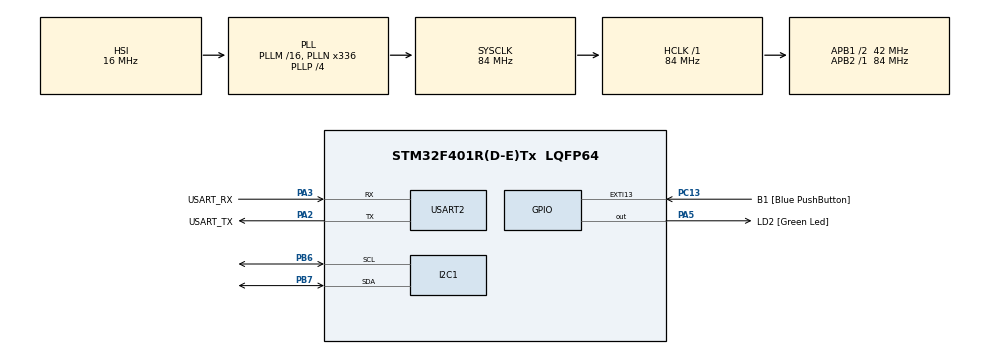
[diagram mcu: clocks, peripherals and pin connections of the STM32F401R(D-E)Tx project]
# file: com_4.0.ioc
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Mcu.Family=STM32F4
Mcu.Name=STM32F401R(D-E)Tx
Mcu.Package=LQFP64
NVIC.PriorityGroup=NVIC_PRIORITYGROUP_0
PA13.GPIO_Label=TMS
PA13.Mode=Serial_Wire
PA13.Signal=SYS_JTMS-SWDIO
PA14.GPIO_Label=TCK
PA14.Mode=Serial_Wire
PA14.Signal=SYS_JTCK-SWCLK
PA2.GPIO_Label=USART_TX
PA2.GPIO_Mode=GPIO_MODE_AF_PP
PA2.GPIO_PuPd=GPIO_NOPULL
PA2.GPIO_Speed=GPIO_SPEED_FREQ_LOW
PA2.Mode=Asynchronous
PA2.Signal=USART2_TX
PA3.GPIO_Label=USART_RX
PA3.GPIO_Mode=GPIO_MODE_AF_PP
PA3.GPIO_PuPd=GPIO_NOPULL
PA3.GPIO_Speed=GPIO_SPEED_FREQ_LOW
PA3.Mode=Asynchronous
PA3.Signal=USART2_RX
PA5.GPIO_Label=LD2 [Green Led]
PA5.GPIO_Mode=GPIO_MODE_OUTPUT_PP
PA5.GPIO_PuPd=GPIO_NOPULL
PA5.GPIO_Speed=GPIO_SPEED_FREQ_LOW
PA5.Signal=GPIO_Output
PB6.Mode=I2C
PB6.Signal=I2C1_SCL
PB7.Mode=I2C
PB7.Signal=I2C1_SDA
PC13-ANTI_TAMP.GPIO_Label=B1 [Blue PushButton]
PC13-ANTI_TAMP.GPIO_ModeDefaultEXTI=GPIO_MODE_IT_FALLING
PC13-ANTI_TAMP.GPIO_PuPd=GPIO_NOPULL
PC13-ANTI_TAMP.Signal=GPXTI13
PC14-OSC32_IN.Mode=LSE-External-Oscillator
PC14-OSC32_IN.Signal=RCC_OSC32_IN
PC15-OSC32_OUT.Mode=LSE-External-Oscillator
PC15-OSC32_OUT.Signal=RCC_OSC32_OUT
PH0\ -\ OSC_IN.Mode=HSE-External-Clock-Source
PH0\ -\ OSC_IN.Signal=RCC_OSC_IN
PH1\ -\ OSC_OUT.Mode=HSE-External-Clock-Source
PH1\ -\ OSC_OUT.Signal=RCC_OSC_OUT
ProjectManager.HeapSize=0x200
ProjectManager.StackSize=0x400
ProjectManager.TargetToolchain=STM32CubeIDE
RCC.48MHZClocksFreq_Value=48000000
RCC.AHBFreq_Value=84000000
RCC.APB1CLKDivider=RCC_HCLK_DIV2
RCC.APB1Freq_Value=42000000
RCC.APB1TimFreq_Value=84000000
RCC.APB2Freq_Value=84000000
RCC.APB2TimFreq_Value=84000000
RCC.CortexFreq_Value=84000000
RCC.HCLKFreq_Value=84000000
RCC.HSE_VALUE=8000000
RCC.HSI_VALUE=16000000
RCC.PLLN=336
RCC.PLLP=RCC_PLLP_DIV4
RCC.PLLQ=7
RCC.SYSCLKFreq_VALUE=84000000
RCC.SYSCLKSource=RCC_SYSCLKSOURCE_PLLCLK
RCC.VCOOutputFreq_Value=336000000
USART2.VirtualMode=VM_ASYNC
board=NUCLEO-F401RE

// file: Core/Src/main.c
/* USER CODE BEGIN Header */
/**
  ******************************************************************************
  * @file           : main.c
  * @brief          : Main program body
  ******************************************************************************
  * @attention
  *
  * Copyright (c) 2024 STMicroelectronics.
  * All rights reserved.
  *
  * This software is licensed under terms that can be found in the LICENSE file
  * in the root directory of this software component.
  * If no LICENSE file comes with this software, it is provided AS-IS.
  *
  ******************************************************************************
  */
/* USER CODE END Header */
#include "main.h"
#include <stdio.h>
#include <stdlib.h>  // For strtol
#include <stdint.h>  // For uint32_t
#include <string.h>
#include <math.h>
#include <ctype.h>

/* USER CODE BEGIN PD */
// Define the I2C address of LDC1614 (7-bit address, shift left for 8-bit format)
#define LDC1614_ADDRESS (0x2A << 1)  // Adjust based on your sensor's I2C address configuration

// Define Channels data registers
#define LDC1614_REG_DATA0_MSB 0x00  // Register address for DATA_MSB_CH0 // Read Only
#define LDC1614_REG_DATA0_LSB 0x01  // Register address for DATA_LSB_CH0 // Read Only
#define LDC1614_REG_DATA1_MSB 0x02  // Register address for DATA_MSB_CH1 // Read Only
#define LDC1614_REG_DATA1_LSB 0x03  // Register address for DATA_LSB_CH1 // Read Only
#define LDC1614_REG_DATA2_MSB 0x04  // Register address for DATA_MSB_CH2 // Read Only
#define LDC1614_REG_DATA2_LSB 0x05  // Register address for DATA_LSB_CH2 // Read Only
#define LDC1614_REG_DATA3_MSB 0x06  // Register address for DATA_MSB_CH3 // Read Only
#define LDC1614_REG_DATA3_LSB 0x07  // Register address for DATA_LSB_CH3 // Read Only

// Define Channels offsets registers
#define LDC1614_CH0_OFFSET 0x0C // Offset channel 0 // Read & Write
#define LDC1614_CH1_OFFSET 0x0D // Offset channel 1 // Read & Write
#define LDC1614_CH2_OFFSET 0x0E // Offset channel 2 // Read & Write
#define LDC1614_CH3_OFFSET 0x0F // Offset channel 3 // Read & Write

// Define Channels dividers registers
#define LDC1614_CH0_FIN_DIVIDER 0x14 // Divider channel 0 // Read & Write
#define LDC1614_CH1_FIN_DIVIDER 0x15 // Divider channel 1 // Read & Write
#define LDC1614_CH2_FIN_DIVIDER 0x16 // Divider channel 2 // Read & Write
#define LDC1614_CH3_FIN_DIVIDER 0x17 // Divider channel 3 // Read & Write

// Define RCOUNT registers
#define RCOUNT_CH0 0x08
#define RCOUNT_CH1 0x09
#define RCOUNT_CH2 0x0A
#define RCOUNT_CH3 0x0B

// Define SETTLECOUNT registers
#define SETTLECOUNT_CH0 0x10
#define SETTLECOUNT_CH1 0x11
#define SETTLECOUNT_CH2 0x12
#define SETTLECOUNT_CH3 0x13

// Define MUX configuration register
#define CONFIG_reg 0x1A
#define MUX_reg 0x1B
#define RESET_DEV 0x1C

#define DRIVE_CURRENT_CH0 0x1E
#define DRIVE_CURRENT_CH1 0x1F
#define DRIVE_CURRENT_CH2 0x20
#define DRIVE_CURRENT_CH3 0x21

// THIS IS YOUR FIRST BRANCH

/* USER CODE END PD */

I2C_HandleTypeDef hi2c1;
UART_HandleTypeDef huart2;

// Buffers for channels data
uint8_t reg_data_MSB_CH0[2];  // Buffer to hold the read data (2 bytes for LDC1614)
uint8_t reg_data_LSB_CH0[2];  // Buffer to hold the read data (2 bytes for LDC1614)
uint8_t reg_data_MSB_CH1[2];  // Buffer to hold the read data (2 bytes for LDC1614)
uint8_t reg_data_LSB_CH1[2];  // Buffer to hold the read data (2 bytes for LDC1614)
uint8_t reg_data_MSB_CH2[2];  // Buffer to hold the read data (2 bytes for LDC1614)
uint8_t reg_data_LSB_CH2[2];  // Buffer to hold the read data (2 bytes for LDC1614)
uint8_t reg_data_MSB_CH3[2];  // Buffer to hold the read data (2 bytes for LDC1614)
uint8_t reg_data_LSB_CH3[2];  // Buffer to hold the read data (2 bytes for LDC1614)

// Buffers for channels offsets
uint8_t reg_CH0_OFFSET[2];
uint8_t reg_CH1_OFFSET[2];
uint8_t reg_CH2_OFFSET[2];
uint8_t reg_CH3_OFFSET[2];

// Buffers for channels frequency dividers
uint8_t reg_CH0_FIN_DIVIDER[2];
uint8_t reg_CH1_FIN_DIVIDER[2];
uint8_t reg_CH2_FIN_DIVIDER[2];
uint8_t reg_CH3_FIN_DIVIDER[2];

//MUX Configurations (2, 3 or 4 channels)
uint8_t config_channels_DeGlitch[2] = {0x82, 0x0C};  // Configuration to be written, change here.

// Configurations (2, 3 or 4 channels)
uint8_t config_2Channels_1MHz[2] = {0x82, 0x09};  // Configuration to be written for 2 channels mode // Deglitsh 1MHz
uint8_t config_3Channels_1MHz[2] = {0xA2, 0x09};  // Configuration to be written for 3 channels mode // Deglitsh 1MHz
uint8_t config_4Channels_1MHz[2] = {0xC2, 0x09};  // Configuration to be written for 4 channels mode // Deglitsh 1MHz

uint8_t config_2Channels_3MHz[2] = {0x82, 0x0C};  // Configuration to be written for 2 channels mode // Deglitsh 3.3MHz
uint8_t config_3Channels_3MHz[2] = {0xA2, 0x0C};  // Configuration to be written for 3 channels mode // Deglitsh 3.3MHz
uint8_t config_4Channels_3MHz[2] = {0xC2, 0x0C};  // Configuration to be written for 4 channels mode // Deglitsh 3.3MHz

uint8_t config_2Channels_10MHz[2] = {0x82, 0x0D};  // Configuration to be written for 2 channels mode // Deglitsh 10MHz
uint8_t config_3Channels_10MHz[2] = {0xA2, 0x0D};  // Configuration to be written for 3 channels mode // Deglitsh 10MHz
uint8_t config_4Channels_10MHz[2] = {0xC2, 0x0D};  // Configuration to be written for 4 channels mode // Deglitsh 10MHz

uint8_t config_2Channels_33MHz[2] = {0x82, 0x0F};  // Configuration to be written for 2 channels mode // Deglitsh 33MHz
uint8_t config_3Channels_33MHz[2] = {0xA2, 0x0F};  // Configuration to be written for 3 channels mode // Deglitsh 33MHz
uint8_t config_4Channels_33MHz[2] = {0xC2, 0x0F};  // Configuration to be written for 4 channels mode // Deglitsh 33MHz

// COUNTS SETTINGS
uint8_t R_COUNT_DEFAULT[2] = {0xFF, 0xFF};
uint8_t SETTLECOUNT_DEFAULT[2] = {0x04, 0x00};

// CLOCK SETTINGS
uint8_t clk_src[2] = {0x1c, 0x01};
uint8_t reset_value[2] = {0x80, 0x00};
uint8_t active_value[2] = {0x00, 0x00};

// DIVIDER AND CLOCK SOURCE
uint8_t DIVIDER_DEFAULT_CH0[2] = {0x10, 0x0E}; //14
uint8_t DIVIDER_DEFAULT_CH1[2] = {0x10, 0x0E}; //14
uint8_t DIVIDER_DEFAULT_CH2[2] = {0x10, 0x0E}; //14
uint8_t DIVIDER_DEFAULT_CH3[2] = {0x10, 0x0E};

uint8_t DRIVE_CURRENT_DEFAULT[2] = {0x8C, 0x40};

void SystemClock_Config(void);
static void MX_GPIO_Init(void);
static void MX_USART2_UART_Init(void);
static void MX_I2C1_Init(void);

// Function to read a register from LDC1614
void LDC1614_ReadRegister(uint8_t reg, uint8_t* buffer, uint16_t size) {
    HAL_I2C_Mem_Read(&hi2c1, LDC1614_ADDRESS, reg, I2C_MEMADD_SIZE_8BIT, buffer, size, HAL_MAX_DELAY);
}

void LDC1614_WriteRegister(uint8_t reg, uint8_t* data, uint16_t size) {
    HAL_I2C_Mem_Write(&hi2c1, LDC1614_ADDRESS, reg, I2C_MEMADD_SIZE_8BIT, data, size, HAL_MAX_DELAY);
}

// Function to transform hex to dec
int hex_to_dec(uint16_t hex) {
	char hexString_CH0[5];
	snprintf(hexString_CH0, sizeof(hexString_CH0), "%04X", hex);
	int integerValue = (int)strtol(hexString_CH0, NULL, 16);
	return integerValue;
}

void LDC1614_WriteRegister_LSB(uint16_t reg, uint16_t* data, uint16_t size) {
    uint8_t current_data[2];  // Array to hold the current register value (MSB + LSB)

    // Read the current value of the register (assuming the register is 16 bits)
    HAL_I2C_Mem_Read(&hi2c1, LDC1614_ADDRESS, reg, I2C_MEMADD_SIZE_8BIT, current_data, 2, HAL_MAX_DELAY);

    // Update the LSB (first 8 bits) while keeping the MSB (second 8 bits) unchanged
    current_data[1] = data;  // Write new LSB from the input data

    // Write the updated register value (MSB unchanged, LSB updated)
    HAL_I2C_Mem_Write(&hi2c1, LDC1614_ADDRESS, reg, I2C_MEMADD_SIZE_8BIT, current_data, 2, HAL_MAX_DELAY);
}

uint32_t calculate_raw_code(uint16_t msb, uint16_t lsb) {
    // Ensure MSB is 12-bit and LSB is 16-bit
    if (msb >= (1 << 12)) {
        return 0;
    }
    if (lsb >= (1 << 16)) {
        return 0;
    }
    uint32_t raw_code = msb * 65536 + lsb;
    return raw_code;
}

int calculate_frequency_supply(float f_ref, float div) {
    float f_supply = f_ref / div * 1000;  // Ensure the division is treated as floating-point
    return f_supply;
}

float calculate_frequency_sensor(float f_ref, float div, float raw_code) {
    float f_supply = f_ref / div;  // Ensure the division is treated as floating-point
    float delta_CH0 =  raw_code / 268435.456;

    float f_sensor = f_supply * delta_CH0;
    return f_sensor;
}

// Function to calculate inductance in microhenries
float calculate_inductance(float raw_code, int f_supply, float fin_divider) {
    float delta = raw_code / 268435.456f;
    float f_sensor = f_supply * delta / 1000.0f;

    float a = 2 * 3.14f * f_sensor * 1000.0f;
    float b = a * a;  // Square 'a'
    float c = b * 330.0f * 1e-12f;  // Representation of 10^-12

    return (c != 0) ? (1 / c) * 1e9f : 0;  // Convert to microhenries
}

void Transmit_Data(uint16_t MSB_CH0, uint16_t LSB_CH0, uint16_t CH0_FIN_DIVIDER, uint16_t CH0_OFFSET,
                    uint16_t MSB_CH1, uint16_t LSB_CH1, uint16_t CH1_FIN_DIVIDER, uint16_t CH1_OFFSET,
                    uint16_t MSB_CH2, uint16_t LSB_CH2, uint16_t CH2_FIN_DIVIDER, uint16_t CH2_OFFSET,
                    uint16_t MSB_CH3, uint16_t LSB_CH3, uint16_t CH3_FIN_DIVIDER, uint16_t CH3_OFFSET) {
    static uint32_t transmit_count = 0;  // Counter to keep track of transmitted data instances
    char msg[1000];  // Buffer to hold the transmitted message

    transmit_count++;  // Increment the counter each time data is transmitted

    // Sensor calculation using 43.4 MHz // PS: the f_supply is in KHz
    float reference_frequency = 43.4;

    // Mask MSB values to 12 bits
    uint16_t MSB_CH0_masked = MSB_CH0 & 0x0FFF;
    uint16_t MSB_CH1_masked = MSB_CH1 & 0x0FFF;
    uint16_t MSB_CH2_masked = MSB_CH2 & 0x0FFF;
    uint16_t MSB_CH3_masked = MSB_CH3 & 0x0FFF;

    // Mask FIN divider to 8 bits
    uint16_t CH0_FIN_DIVIDER_masked = CH0_FIN_DIVIDER & 0x00FF;
    uint16_t CH1_FIN_DIVIDER_masked = CH1_FIN_DIVIDER & 0x00FF;
    uint16_t CH2_FIN_DIVIDER_masked = CH2_FIN_DIVIDER & 0x00FF;
    uint16_t CH3_FIN_DIVIDER_masked = CH3_FIN_DIVIDER & 0x00FF;

    uint32_t raw_code_CH0 = calculate_raw_code(MSB_CH0_masked, LSB_CH0);
    uint32_t raw_code_CH1 = calculate_raw_code(MSB_CH1_masked, LSB_CH1);
    uint32_t raw_code_CH2 = calculate_raw_code(MSB_CH2_masked, LSB_CH2);
    uint32_t raw_code_CH3 = calculate_raw_code(MSB_CH3_masked, LSB_CH3);

    int f_supply_CH0 = calculate_frequency_supply(reference_frequency, CH0_FIN_DIVIDER_masked);
    int f_supply_CH1 = calculate_frequency_supply(reference_frequency, CH1_FIN_DIVIDER_masked);
    int f_supply_CH2 = calculate_frequency_supply(reference_frequency, CH2_FIN_DIVIDER_masked);
    int f_supply_CH3 = calculate_frequency_supply(reference_frequency, CH3_FIN_DIVIDER_masked);

    int f_sensor_CH0 = calculate_frequency_sensor(reference_frequency, CH0_FIN_DIVIDER_masked, raw_code_CH0);
    int f_sensor_CH1 = calculate_frequency_sensor(reference_frequency, CH1_FIN_DIVIDER_masked, raw_code_CH1);
    int f_sensor_CH2 = calculate_frequency_sensor(reference_frequency, CH2_FIN_DIVIDER_masked, raw_code_CH2);
    int f_sensor_CH3 = calculate_frequency_sensor(reference_frequency, CH3_FIN_DIVIDER_masked, raw_code_CH3);

//
//    float a = 2 * 3.14f * f_sensor_CH0 * 1000;
//    float b = pow(a, 2);  // Correct way to square 'a'
//    float c = b * 330 * 1e-12;  // Correct representation of 10^-12
//    int L_CH0 = 1000000000 / c;  // Assuming 'c' is not zero

    int L_CH0 = calculate_inductance(raw_code_CH0, f_supply_CH0, CH0_FIN_DIVIDER_masked);
    int L_CH1 = calculate_inductance(raw_code_CH1, f_supply_CH1, CH1_FIN_DIVIDER_masked);
    int L_CH2 = calculate_inductance(raw_code_CH2, f_supply_CH2, CH2_FIN_DIVIDER_masked);
    int L_CH3 = calculate_inductance(raw_code_CH3, f_supply_CH3, CH3_FIN_DIVIDER_masked);

   // Format the data as a hexadecimal string along with the counter
    int len = snprintf(msg, sizeof(msg),
                       "CH0 - MSB:%d LSB:%d F_DIV:%d f_supply:%i| "
                       "CH1 - MSB:%d LSB:%d F_DIV:%d f_supply:%i| "
                       "CH2 - MSB:%d LSB:%d F_DIV:%d f_supply:%i| "
                       "CH3 - MSB:%d LSB:%d F_DIV:%d f_supply:%i| "
                       "f_sensor_CH2:%li L_CH2:%li - %i\n\r",
                       MSB_CH0_masked, LSB_CH0, CH0_FIN_DIVIDER_masked, f_supply_CH0,
                       MSB_CH1_masked, LSB_CH1, CH1_FIN_DIVIDER_masked, f_supply_CH1,
                       MSB_CH2_masked, LSB_CH2, CH2_FIN_DIVIDER_masked, f_supply_CH2,
                       MSB_CH3_masked, LSB_CH3, CH3_FIN_DIVIDER_masked, f_supply_CH3,
                       f_sensor_CH2, L_CH2, transmit_count);

   if (len < 0 || len >= sizeof(msg)) {
        // Handle snprintf error or buffer overflow
        // Consider logging an error message or taking corrective action
        return;
    }

    // Transmit the message over UART
    if (HAL_UART_Transmit(&huart2, (uint8_t*)msg, len, HAL_MAX_DELAY) != HAL_OK) {
        // Handle UART transmission error
        // Consider logging an error message or taking corrective action
    }
}

int main(void)
{

  /* MCU Configuration--------------------------------------------------------*/

  /* Reset of all peripherals, Initializes the Flash interface and the Systick. */
  HAL_Init();

  /* Configure the system clock */
  SystemClock_Config();

  /* Initialize all configured peripherals */
  MX_GPIO_Init();
  MX_USART2_UART_Init();
  MX_I2C1_Init();

  /* USER CODE BEGIN 2 */
  LDC1614_WriteRegister(RESET_DEV, reset_value, 2);
  LDC1614_WriteRegister(RESET_DEV, active_value, 2);

  // Initialising RCOUNT
  LDC1614_WriteRegister(RCOUNT_CH0, R_COUNT_DEFAULT, 2);
  LDC1614_WriteRegister(RCOUNT_CH1, R_COUNT_DEFAULT, 2);
  LDC1614_WriteRegister(RCOUNT_CH2, R_COUNT_DEFAULT, 2);
  LDC1614_WriteRegister(RCOUNT_CH3, R_COUNT_DEFAULT, 2);

  // Initialising SETTLECOUNT
  LDC1614_WriteRegister(SETTLECOUNT_CH0, SETTLECOUNT_DEFAULT, 2);
  LDC1614_WriteRegister(SETTLECOUNT_CH1, SETTLECOUNT_DEFAULT, 2);
  LDC1614_WriteRegister(SETTLECOUNT_CH2, SETTLECOUNT_DEFAULT, 2);
  LDC1614_WriteRegister(SETTLECOUNT_CH3, SETTLECOUNT_DEFAULT, 2);

  //Frequency divider configuration for the LDC1614
  LDC1614_WriteRegister(LDC1614_CH0_FIN_DIVIDER, DIVIDER_DEFAULT_CH0, 2); // Setting the frequency divider as 12 // F_IN = 1 // Equal to resonance frequency + 10%
  LDC1614_WriteRegister(LDC1614_CH1_FIN_DIVIDER, DIVIDER_DEFAULT_CH1, 2); // Setting the frequency divider as 12 // F_IN = 1 // Equal to resonance frequency + 10%
  LDC1614_WriteRegister(LDC1614_CH2_FIN_DIVIDER, DIVIDER_DEFAULT_CH2, 2); // Setting the frequency divider as 12 // F_IN = 1 // Equal to resonance frequency + 10%
  LDC1614_WriteRegister(LDC1614_CH3_FIN_DIVIDER, DIVIDER_DEFAULT_CH3, 2); // Setting the frequency divider as 12 // F_IN = 1 // Equal to resonance frequency + 10%

  //Clock configuration: Internal clock
  LDC1614_WriteRegister(CONFIG_reg, clk_src, 2);

  //Number of channels configuration for the LDC1614 & Deglitch
  LDC1614_WriteRegister(MUX_reg, config_3Channels_3MHz, 2);

  LDC1614_WriteRegister(DRIVE_CURRENT_CH0, DRIVE_CURRENT_DEFAULT, 2);
  LDC1614_WriteRegister(DRIVE_CURRENT_CH1, DRIVE_CURRENT_DEFAULT, 2);
  LDC1614_WriteRegister(DRIVE_CURRENT_CH2, DRIVE_CURRENT_DEFAULT, 2);
  LDC1614_WriteRegister(DRIVE_CURRENT_CH3, DRIVE_CURRENT_DEFAULT, 2);

  /* USER CODE END 2 */
  /* Infinite loop */
  while (1)
  {

    // Read data
    LDC1614_ReadRegister(LDC1614_REG_DATA0_MSB, reg_data_MSB_CH0, 2);
    LDC1614_ReadRegister(LDC1614_REG_DATA0_LSB, reg_data_LSB_CH0, 2);
    LDC1614_ReadRegister(LDC1614_REG_DATA1_MSB, reg_data_MSB_CH1, 2);
    LDC1614_ReadRegister(LDC1614_REG_DATA1_LSB, reg_data_LSB_CH1, 2);
    LDC1614_ReadRegister(LDC1614_REG_DATA2_MSB, reg_data_MSB_CH2, 2);
    LDC1614_ReadRegister(LDC1614_REG_DATA2_LSB, reg_data_LSB_CH2, 2);
    LDC1614_ReadRegister(LDC1614_REG_DATA3_MSB, reg_data_MSB_CH3, 2);
    LDC1614_ReadRegister(LDC1614_REG_DATA3_LSB, reg_data_LSB_CH3, 2);

    LDC1614_ReadRegister(LDC1614_CH0_OFFSET, reg_CH0_OFFSET, 2);
    LDC1614_ReadRegister(LDC1614_CH1_OFFSET, reg_CH1_OFFSET, 2);
    LDC1614_ReadRegister(LDC1614_CH2_OFFSET, reg_CH2_OFFSET, 2);
    LDC1614_ReadRegister(LDC1614_CH3_OFFSET, reg_CH3_OFFSET, 2);

    LDC1614_ReadRegister(LDC1614_CH0_FIN_DIVIDER, reg_CH0_FIN_DIVIDER, 2);
    LDC1614_ReadRegister(LDC1614_CH1_FIN_DIVIDER, reg_CH1_FIN_DIVIDER, 2);
    LDC1614_ReadRegister(LDC1614_CH2_FIN_DIVIDER, reg_CH2_FIN_DIVIDER, 2);
    LDC1614_ReadRegister(LDC1614_CH3_FIN_DIVIDER, reg_CH3_FIN_DIVIDER, 2);

    // Combine the two bytes into a single 16-bit value
    uint16_t MSB_CH0 = (reg_data_MSB_CH0[0] << 8) | reg_data_MSB_CH0[1];
    uint16_t LSB_CH0= (reg_data_LSB_CH0[0] << 8) | reg_data_LSB_CH0[1];
    uint16_t MSB_CH1 = (reg_data_MSB_CH1[0] << 8) | reg_data_MSB_CH1[1];
    uint16_t LSB_CH1= (reg_data_LSB_CH1[0] << 8) | reg_data_LSB_CH1[1];
    uint16_t MSB_CH2 = (reg_data_MSB_CH2[0] << 8) | reg_data_MSB_CH2[1];
    uint16_t LSB_CH2= (reg_data_LSB_CH2[0] << 8) | reg_data_LSB_CH2[1];
    uint16_t MSB_CH3 = (reg_data_MSB_CH3[0] << 8) | reg_data_MSB_CH3[1];
    uint16_t LSB_CH3= (reg_data_LSB_CH3[0] << 8) | reg_data_LSB_CH3[1];

    uint16_t CH0_OFFSET= (reg_CH0_OFFSET[0] << 8) | reg_CH0_OFFSET[1];
    uint16_t CH1_OFFSET= (reg_CH1_OFFSET[0] << 8) | reg_CH1_OFFSET[1];
    uint16_t CH2_OFFSET= (reg_CH2_OFFSET[0] << 8) | reg_CH2_OFFSET[1];
    uint16_t CH3_OFFSET= (reg_CH3_OFFSET[0] << 8) | reg_CH3_OFFSET[1];

    uint16_t CH0_FIN_DIVIDER= (reg_CH0_FIN_DIVIDER[0] << 8) | reg_CH0_FIN_DIVIDER[1];
    uint16_t CH1_FIN_DIVIDER= (reg_CH1_FIN_DIVIDER[0] << 8) | reg_CH1_FIN_DIVIDER[1];
    uint16_t CH2_FIN_DIVIDER= (reg_CH2_FIN_DIVIDER[0] << 8) | reg_CH2_FIN_DIVIDER[1];
    uint16_t CH3_FIN_DIVIDER= (reg_CH3_FIN_DIVIDER[0] << 8) | reg_CH3_FIN_DIVIDER[1];

    // Data transform for output LED
    int integerValue_MSB_CH0 = hex_to_dec(MSB_CH0);
    int integerValue_MSB_CH1 = hex_to_dec(MSB_CH1);
    int integerValue_MSB_CH2 = hex_to_dec(MSB_CH2);
    int integerValue_MSB_CH3 = hex_to_dec(MSB_CH3);

    // Transmit the register value via UART
    Transmit_Data(MSB_CH0, LSB_CH0, CH0_FIN_DIVIDER, CH0_OFFSET, MSB_CH1, LSB_CH1, CH1_FIN_DIVIDER, CH1_OFFSET, MSB_CH2, LSB_CH2, CH2_FIN_DIVIDER, CH2_OFFSET, MSB_CH3, LSB_CH3, CH3_FIN_DIVIDER, CH3_OFFSET);

    if (MSB_CH0 > 3750 || MSB_CH2 > 3360 ){
    	HAL_GPIO_WritePin(LD2_GPIO_Port, LD2_Pin, GPIO_PIN_SET);
    }else{
    	HAL_GPIO_WritePin(LD2_GPIO_Port, LD2_Pin, GPIO_PIN_RESET);
    };
    // Add a delay or condition to control the transmission frequency

    HAL_Delay(100);  // Delay for 1 second, adjust as needed
  }
}

void SystemClock_Config(void)
{
  RCC_OscInitTypeDef RCC_OscInitStruct = {0};
  RCC_ClkInitTypeDef RCC_ClkInitStruct = {0};

  /** Configure the main internal regulator output voltage
  */
  __HAL_RCC_PWR_CLK_ENABLE();
  __HAL_PWR_VOLTAGESCALING_CONFIG(PWR_REGULATOR_VOLTAGE_SCALE2);

  /** Initializes the RCC Oscillators according to the specified parameters
  * in the RCC_OscInitTypeDef structure.
  */
  RCC_OscInitStruct.OscillatorType = RCC_OSCILLATORTYPE_HSI;
  RCC_OscInitStruct.HSIState = RCC_HSI_ON;
  RCC_OscInitStruct.HSICalibrationValue = RCC_HSICALIBRATION_DEFAULT;
  RCC_OscInitStruct.PLL.PLLState = RCC_PLL_ON;
  RCC_OscInitStruct.PLL.PLLSource = RCC_PLLSOURCE_HSI;
  RCC_OscInitStruct.PLL.PLLM = 16;
  RCC_OscInitStruct.PLL.PLLN = 336;
  RCC_OscInitStruct.PLL.PLLP = RCC_PLLP_DIV4;
  RCC_OscInitStruct.PLL.PLLQ = 7;
  if (HAL_RCC_OscConfig(&RCC_OscInitStruct) != HAL_OK)
  {
    Error_Handler();
  }

  /** Initializes the CPU, AHB and APB buses clocks
  */
  RCC_ClkInitStruct.ClockType = RCC_CLOCKTYPE_HCLK|RCC_CLOCKTYPE_SYSCLK
                              |RCC_CLOCKTYPE_PCLK1|RCC_CLOCKTYPE_PCLK2;
  RCC_ClkInitStruct.SYSCLKSource = RCC_SYSCLKSOURCE_PLLCLK;
  RCC_ClkInitStruct.AHBCLKDivider = RCC_SYSCLK_DIV1;
  RCC_ClkInitStruct.APB1CLKDivider = RCC_HCLK_DIV2;
  RCC_ClkInitStruct.APB2CLKDivider = RCC_HCLK_DIV1;

  if (HAL_RCC_ClockConfig(&RCC_ClkInitStruct, FLASH_LATENCY_2) != HAL_OK)
  {
    Error_Handler();
  }
}

static void MX_I2C1_Init(void)
{
  hi2c1.Instance = I2C1;
  hi2c1.Init.ClockSpeed = 100000;
  hi2c1.Init.DutyCycle = I2C_DUTYCYCLE_2;
  hi2c1.Init.OwnAddress1 = 0;
  hi2c1.Init.AddressingMode = I2C_ADDRESSINGMODE_7BIT;
  hi2c1.Init.DualAddressMode = I2C_DUALADDRESS_DISABLE;
  hi2c1.Init.OwnAddress2 = 0;
  hi2c1.Init.GeneralCallMode = I2C_GENERALCALL_DISABLE;
  hi2c1.Init.NoStretchMode = I2C_NOSTRETCH_DISABLE;
  if (HAL_I2C_Init(&hi2c1) != HAL_OK)
  {
    Error_Handler();
  }
}

static void MX_USART2_UART_Init(void)
{
  huart2.Instance = USART2;
  huart2.Init.BaudRate = 115200;
  huart2.Init.WordLength = UART_WORDLENGTH_8B;
  huart2.Init.StopBits = UART_STOPBITS_1;
  huart2.Init.Parity = UART_PARITY_NONE;
  huart2.Init.Mode = UART_MODE_TX_RX;
  huart2.Init.HwFlowCtl = UART_HWCONTROL_NONE;
  huart2.Init.OverSampling = UART_OVERSAMPLING_16;
  if (HAL_UART_Init(&huart2) != HAL_OK)
  {
    Error_Handler();
  }
}

static void MX_GPIO_Init(void)
{
  GPIO_InitTypeDef GPIO_InitStruct = {0};

  /* GPIO Ports Clock Enable */
  __HAL_RCC_GPIOC_CLK_ENABLE();
  __HAL_RCC_GPIOH_CLK_ENABLE();
  __HAL_RCC_GPIOA_CLK_ENABLE();
  __HAL_RCC_GPIOB_CLK_ENABLE();

  /*Configure GPIO pin Output Level */
  HAL_GPIO_WritePin(LD2_GPIO_Port, LD2_Pin, GPIO_PIN_RESET);

  /*Configure GPIO pin : B1_Pin */
  GPIO_InitStruct.Pin = B1_Pin;
  GPIO_InitStruct.Mode = GPIO_MODE_IT_FALLING;
  GPIO_InitStruct.Pull = GPIO_NOPULL;
  HAL_GPIO_Init(B1_GPIO_Port, &GPIO_InitStruct);

  /*Configure GPIO pin : LD2_Pin */
  GPIO_InitStruct.Pin = LD2_Pin;
  GPIO_InitStruct.Mode = GPIO_MODE_OUTPUT_PP;
  GPIO_InitStruct.Pull = GPIO_NOPULL;
  GPIO_InitStruct.Speed = GPIO_SPEED_FREQ_LOW;
  HAL_GPIO_Init(LD2_GPIO_Port, &GPIO_InitStruct);
}

void Error_Handler(void)
{
  __disable_irq();
  while (1)
  {
  }
}
